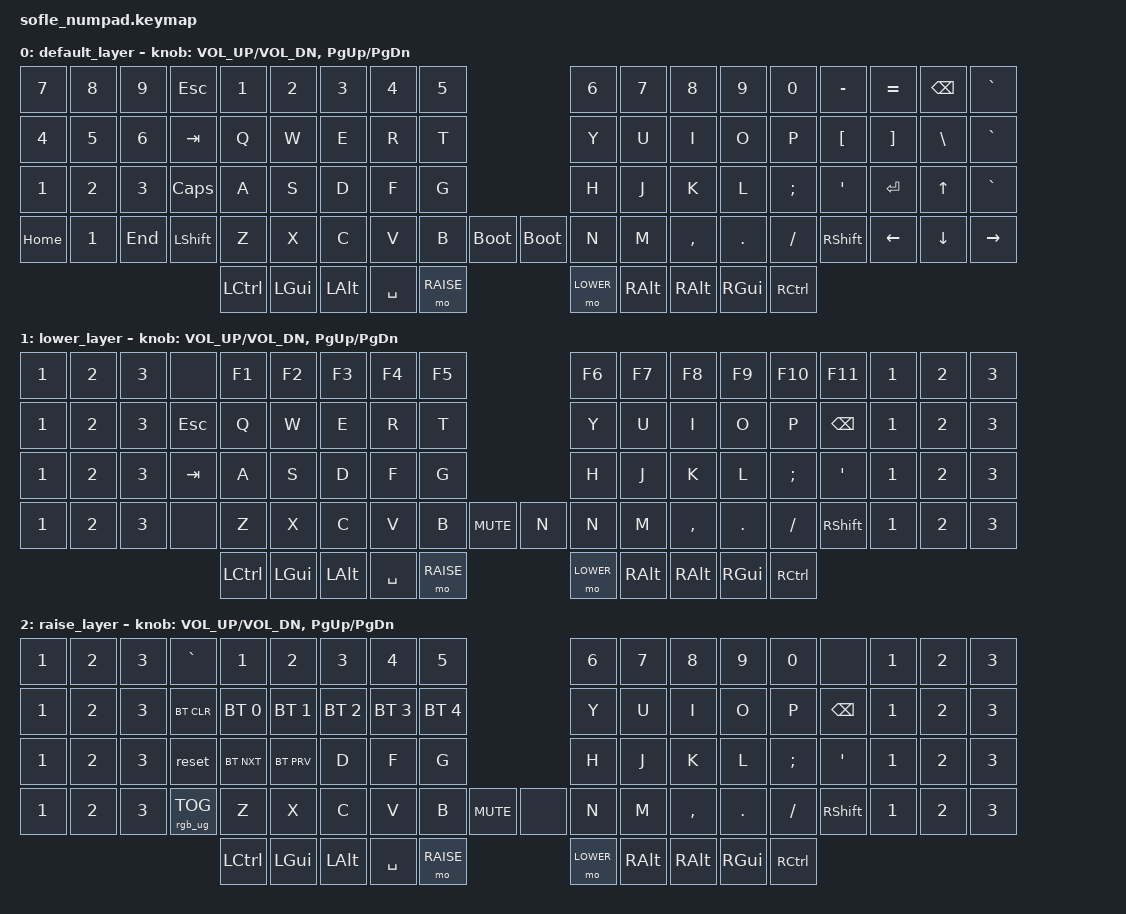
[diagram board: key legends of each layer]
/*
 * Copyright (c) 2020 The ZMK Contributors
 *
 * SPDX-License-Identifier: MIT
 */

#include <behaviors.dtsi>
#include <dt-bindings/zmk/keys.h>
#include <dt-bindings/zmk/bt.h>
#include <dt-bindings/zmk/rgb.h>

 #define DEFAULT 0
 #define LOWER  1
 #define RAISE  2

/ {
    keymap {
        compatible = "zmk,keymap";

        default_layer {
// -----------------------------------------------------------------------------------------------------------------------------------------------------------------------------------------------------------------------
// |   7   |   8   |   9   || ||  ESC  |   1   |    2    |   3    |   4    |   5   |                        |    6     |     7     |    8     |    9     |     0     |    - _    || ||    = +    |    BS     |    DEL    |
// |   4   |   5   |   6   || ||  TAB  |   Q   |    W    |   E    |   R    |   T   |                        |    Y     |     U     |    I     |    O     |     P     |    [ {    || ||    ] }    |    \ |    |   GRAVE   |
// |   1   |   2   |   3   || ||  CAPS |   A   |    S    |   D    |   F    |   G   |                        |    H     |     J     |    K     |    L     |     ;     |     '     || ||   ENTER   |     ^     |   GRAVE   |
// |  HOME |   0   |  END  || || SHIFT |   Z   |    X    |   C    |   V    |   B   |  VOL_U |       | VOL_D |    N     |     M     |    ,     |    .     |     /     |   SHIFT   || ||     <     |     v     |     >     |
//                                             |   CTRL  |  LGUI  |  LALT  | SPACE |  RAISE |       | LOWER |   RALT   |    RALT   |   RGUI   |   CTRL   |
//
            bindings = <
    &kp N7   &kp N8  &kp N9    &kp ESC   &kp N1  &kp N2   &kp N3   &kp N4   &kp N5                             &kp N6      &kp N7    &kp N8      &kp N9     &kp N0       &kp MINUS     &kp EQUAL    &kp BSPC   &kp GRAVE
    &kp N4   &kp N5  &kp N6    &kp TAB   &kp Q   &kp W    &kp E    &kp R    &kp T                              &kp Y       &kp U     &kp I       &kp O      &kp P        &kp LBKT      &kp RBKT     &kp BSLH   &kp GRAVE
    &kp N1   &kp N2  &kp N3    &kp CAPS  &kp A   &kp S    &kp D    &kp F    &kp G                              &kp H       &kp J     &kp K       &kp L      &kp SEMI     &kp SQT       &kp RET      &kp UP     &kp GRAVE
    &kp HOME &kp N1  &kp END   &kp LSHFT &kp Z   &kp X    &kp C    &kp V    &kp B  &bootloader    &bootloader  &kp N       &kp M     &kp COMMA   &kp DOT    &kp FSLH     &kp RSHFT     &kp LEFT     &kp DOWN   &kp RIGHT
                                             &kp LCTRL &kp LGUI &kp LALT &kp SPACE &mo RAISE           &mo LOWER    &kp RALT    &kp RALT   &kp RGUI    &kp RCTRL
            >;

            sensor-bindings = <&inc_dec_kp C_VOL_UP C_VOL_DN &inc_dec_kp PG_UP PG_DN>;
        };

        lower_layer {
// TODO: Some binds are waiting for shifted keycode support.
// -----------------------------------------------------------------------------------------------------------------------------------------------------------------------------------------------------------------------
// |   7   |   8   |   9   || ||  ESC  |   1   |    2    |   3    |   4    |   5   |                        |    6     |     7     |    8     |    9     |     0     |    - _    || ||    = +    |    BS     |    DEL    |
// |   4   |   5   |   6   || ||  TAB  |   Q   |    W    |   E    |   R    |   T   |                        |    Y     |     U     |    I     |    O     |     P     |    [ {    || ||    ] }    |    \ |    |   GRAVE   |
// |   1   |   2   |   3   || ||  CAPS |   A   |    S    |   D    |   F    |   G   |                        |    H     |     J     |    K     |    L     |     ;     |     '     || ||   ENTER   |     ^     |   GRAVE   |
// |  HOME |   0   |  END  || || SHIFT |   Z   |    X    |   C    |   V    |   B   |  VOL_U |       | VOL_D |    N     |     M     |    ,     |    .     |     /     |   SHIFT   || ||     <     |     v     |     >     |
//                                             |   CTRL  |  LGUI  |  LALT  | SPACE |  RAISE |       | LOWER |   RALT   |    RALT   |   RGUI   |   CTRL   |
//
            bindings = <
&kp N1 &kp N2   &kp N3      &none  &kp F1   &kp F2    &kp F3    &kp F4  &kp F5                           &kp F6 &kp F7    &kp F8    &kp F9   &kp F10  &kp F11         &kp N1 &kp N2   &kp N3
&kp N1 &kp N2   &kp N3      &kp ESC   &kp Q  &kp W    &kp E    &kp R     &kp T                           &kp Y  &kp U     &kp I     &kp O    &kp P    &kp BSPC      &kp N1 &kp N2   &kp N3
&kp N1 &kp N2   &kp N3      &kp TAB   &kp A  &kp S    &kp D    &kp F     &kp G                           &kp H  &kp J     &kp K     &kp L    &kp SEMI &kp SQT       &kp N1 &kp N2   &kp N3
&kp N1 &kp N2   &kp N3      &none  &kp Z    &kp X     &kp C     &kp V   &kp B  &kp C_MUTE      &kp N     &kp N  &kp M     &kp COMMA &kp DOT  &kp FSLH &kp RSHFT     &kp N1 &kp N2   &kp N3
                                      &kp LCTRL &kp LGUI &kp LALT &kp SPACE &mo RAISE           &mo LOWER    &kp RALT    &kp RALT   &kp RGUI    &kp RCTRL
            >;

            sensor-bindings = <&inc_dec_kp C_VOL_UP C_VOL_DN &inc_dec_kp PG_UP PG_DN>;
        };

        raise_layer {
// ------------------------------------------------------------------------------------------------------------
// |BTCLR| BT1  | BT2  |  BT3  |  BT4  |  BT5 |                |      |      |       |      |       |       |
// |     | INS  | PSCR | GUI   |       |      |                | PGUP |      |   ^   |      |       |       |
// |     | ALT  | CTRL | SHIFT |       | CAPS |                | PGDN |   <- |   v   |  ->  |  DEL  | BKSPC |
// |     | UNDO | CUT  | COPY  | PASTE |      |      |  |      |      |      |       |      |       |       |
//              |      |       |       |      |      |  |      |      |      |       |      |
            bindings = <
&kp N1 &kp N2   &kp N3      &kp GRAVE &kp N1 &kp N2   &kp N3   &kp N4    &kp N5                          &kp N6 &kp N7    &kp N8    &kp N9   &kp N0   &none         &kp N1 &kp N2   &kp N3
&kp N1 &kp N2   &kp N3      &bt BT_CLR  &bt BT_SEL 0    &bt BT_SEL 1     &bt BT_SEL 2     &bt BT_SEL 3   &bt BT_SEL 4                   &kp Y  &kp U     &kp I     &kp O    &kp P    &kp BSPC      &kp N1 &kp N2   &kp N3
&kp N1 &kp N2   &kp N3     &reset  &bt BT_NXT    &bt BT_PRV     &kp D     &kp F   &kp G                           &kp H  &kp J     &kp K     &kp L    &kp SEMI &kp SQT       &kp N1 &kp N2   &kp N3
&kp N1 &kp N2   &kp N3      &rgb_ug RGB_TOG &kp Z  &kp X    &kp C    &kp V     &kp B  &kp C_MUTE     &none     &kp N  &kp M     &kp COMMA &kp DOT  &kp FSLH &kp RSHFT     &kp N1 &kp N2   &kp N3
                                                &kp LCTRL &kp LGUI &kp LALT &kp SPACE &mo RAISE           &mo LOWER    &kp RALT    &kp RALT   &kp RGUI    &kp RCTRL
            >;

            sensor-bindings = <&inc_dec_kp C_VOL_UP C_VOL_DN &inc_dec_kp PG_UP PG_DN>;
        };
    };
};
